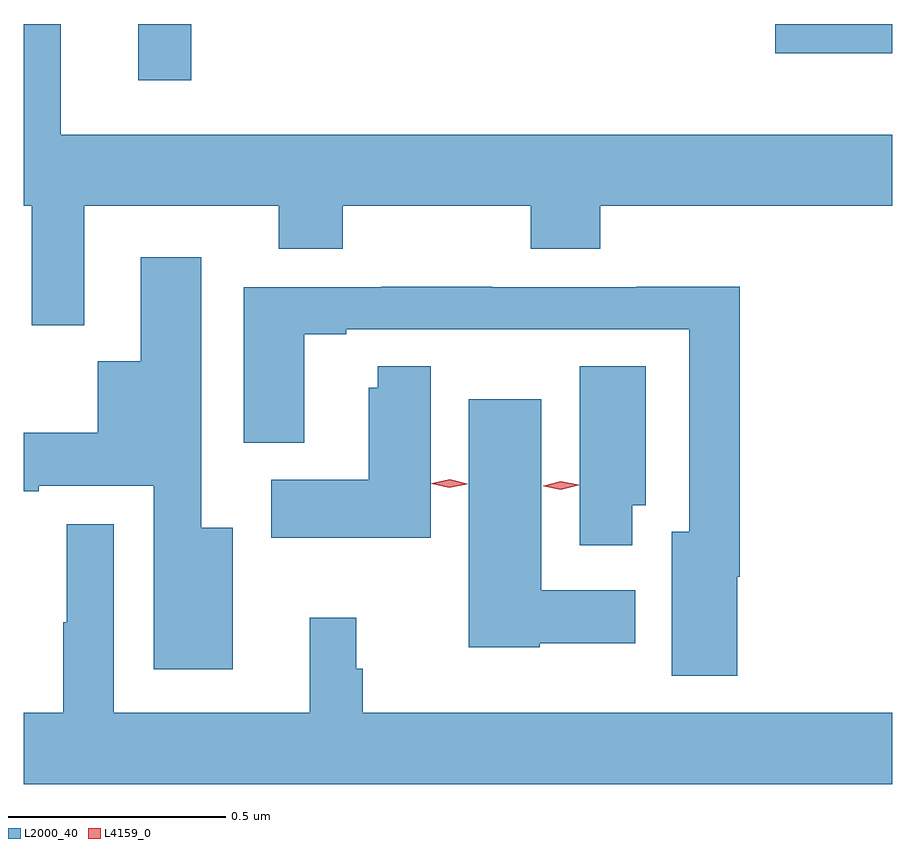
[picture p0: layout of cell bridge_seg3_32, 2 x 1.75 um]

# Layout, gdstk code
import gdstk
lib = gdstk.Library(unit=1e-6, precision=1e-09)
def R(c, l, rs):  # rectangles x0, y0, x1, y1
    for r in rs: c.add(gdstk.rectangle(r[:2], r[2:], *l))
def P(c, l, *ps):  # polygons
    for p in ps: c.add(gdstk.Polygon(p, *l))
L2000_40 = (2000, 40)
L4159_0 = (4159, 0)

bridge_seg3_32 = lib.new_cell('bridge_seg3_32')
R(bridge_seg3_32, L2000_40, [(686.045,691.881,686.167,692.011), (687.513,691.944,687.782,692.011)])
P(bridge_seg3_32, L2000_40, [(685.921,691.592),(686.369,691.592),(686.369,691.493),(686.517,691.493),(686.517,691.592),(686.95,691.592),(686.95,691.493),(687.11,691.493),(687.11,691.592),(687.782,691.592),(687.782,691.756),(685.867,691.756),(685.867,692.011),(685.782,692.011),(685.782,691.592),(685.8,691.592),(685.8,691.317),(685.921,691.317)],
  [(686.263,690.85),(686.191,690.85),(686.191,691.474),(686.051,691.474),(686.051,691.234),(685.952,691.234),(685.952,691.069),(685.782,691.069),(685.782,690.935),(685.816,690.935),(685.816,690.947),(686.081,690.947),(686.081,690.524),(686.263,690.524)],
  [(687.425,690.737),(687.431,690.737),(687.431,691.406),(687.193,691.406),(687.193,691.404),(686.861,691.404),(686.861,691.406),(686.605,691.406),(686.605,691.404),(686.288,691.404),(686.288,691.046),(686.428,691.046),(686.428,691.296),(686.524,691.296),(686.524,691.308),(687.315,691.308),(687.315,690.841),(687.275,690.841),(687.275,690.509),(687.425,690.509)],
  [(687.184,690.902),(687.214,690.902),(687.214,691.223),(687.062,691.223),(687.062,690.81),(687.184,690.81)],
  [(686.719,691.223),(686.597,691.223),(686.597,691.173),(686.576,691.173),(686.576,690.961),(686.352,690.961),(686.352,690.827),(686.719,690.827)],
  [(686.97,690.584),(687.19,690.584),(687.19,690.706),(686.974,690.706),(686.974,691.147),(686.807,691.147),(686.807,690.575),(686.97,690.575)],
  [(687.782,690.424),(686.563,690.424),(686.563,690.525),(686.548,690.525),(686.548,690.643),(686.441,690.643),(686.441,690.424),(685.989,690.424),(685.989,690.859),(685.881,690.859),(685.881,690.633),(685.873,690.633),(685.873,690.424),(685.782,690.424),(685.782,690.26),(687.782,690.26)])
P(bridge_seg3_32, L4159_0, [(687.019,690.938),(686.979,690.946),(686.978,690.947),(686.979,690.947),(687.019,690.958),(687.06,690.949),(687.06,690.949),(687.06,690.948)],
  [(686.762,690.942),(686.722,690.952),(686.722,690.953),(686.722,690.953),(686.763,690.962),(686.803,690.952),(686.803,690.952),(686.803,690.951)])

lib.write_gds('bridge_seg3_32.gds')
